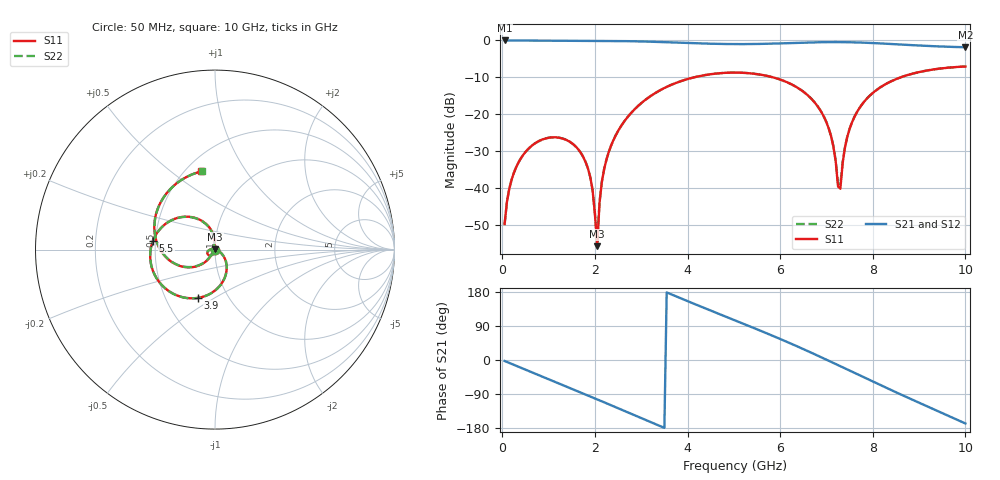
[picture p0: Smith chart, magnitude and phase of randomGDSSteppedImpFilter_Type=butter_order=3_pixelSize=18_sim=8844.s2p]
! freq	dB(S11)	phase(S11)	dB(S12)	phase(S12)
!  dB(S21)	phase(S21)	dB(S22)	phase(S22)
!S-par simulation data
#  GHz  S  DB  R 50
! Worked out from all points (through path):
!   200 points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, 50 MHz to 10 GHz, reference 50 ohm
!   highest |S21| = -0.01 dB at 50 MHz (marker M1); lowest = -1.8 dB at 10 GHz (marker M2)
!   group delay of S21, straight-line fit = 146 ps
!   lowest |S11| = -55.9 dB at 2.05 GHz (marker M3), VSWR 1.00, Z = 50.1 + j0.111 ohm
!   |S11| at or under -10 dB: start of sweep to 4.149 GHz; 5.837 GHz to 8.608 GHz (2.771 GHz wide, 38.4 % of centre)
!   |S22| runs from -54.7 to -7.1 dB; largest |S21 - S12| = 0
!   S11 on the Smith chart (normalised r, x): 50 MHz: 1.00, -0.01; 3.9 GHz: 0.72, -0.42; 5.5 GHz: 0.48, +0.06; 10 GHz: 0.60, +0.65
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0.05  -49.86 -91.0  -0.01 -2.6  -0.01 -2.6  -49.86 -91.0
0.25  -35.95 -101.7  -0.02 -12.7  -0.02 -12.7  -35.95 -101.8
0.6  -29.00 -120.1  -0.04 -30.4  -0.04 -30.4  -29.00 -120.2
1.25  -26.48 -154.3  -0.08 -63.2  -0.08 -63.2  -26.48 -154.5
1.75  -31.70 179.4  -0.11 -88.6  -0.11 -88.6  -31.70 178.6
1.95  -40.65 166.6  -0.11 -98.8  -0.11 -98.8  -40.62 164.0
2.05  -55.88 43.7  -0.12 -103.9  -0.12 -103.9  -54.70 48.6
2.1  -44.01 -10.9  -0.12 -106.5  -0.12 -106.5  -43.90 -6.5
2.15  -38.41 -16.6  -0.13 -109.1  -0.13 -109.1  -38.38 -14.2
2.35  -28.54 -29.0  -0.15 -119.4  -0.15 -119.4  -28.54 -28.1
3.4  -13.59 -84.3  -0.42 -174.0  -0.42 -174.0  -13.58 -84.0
3.9  -10.88 -109.7  -0.65 160.4  -0.65 160.4  -10.88 -109.5
5.05  -8.74 -166.3  -1.00 103.4  -1.00 103.4  -8.74 -166.0
5.5  -9.15 171.7  -0.96 81.1  -0.96 81.1  -9.15 171.9
6.7  -16.20 109.9  -0.53 17.8  -0.53 17.8  -16.19 110.5
7.05  -23.94 93.6  -0.46 -2.1  -0.46 -2.1  -23.90 95.2
7.3  -40.29 -155.8  -0.46 -16.5  -0.46 -16.5  -39.18 -162.2
7.4  -29.03 -123.8  -0.48 -22.2  -0.48 -22.2  -28.96 -126.7
7.6  -20.87 -128.7  -0.53 -33.8  -0.53 -33.8  -20.87 -129.9
8.35  -11.38 -169.2  -0.94 -76.7  -0.94 -76.7  -11.39 -169.6
9.1  -8.34 149.3  -1.45 -118.2  -1.45 -118.2  -8.34 149.0
10  -7.09 99.8  -1.85 -167.5  -1.85 -167.5  -7.09 99.4
